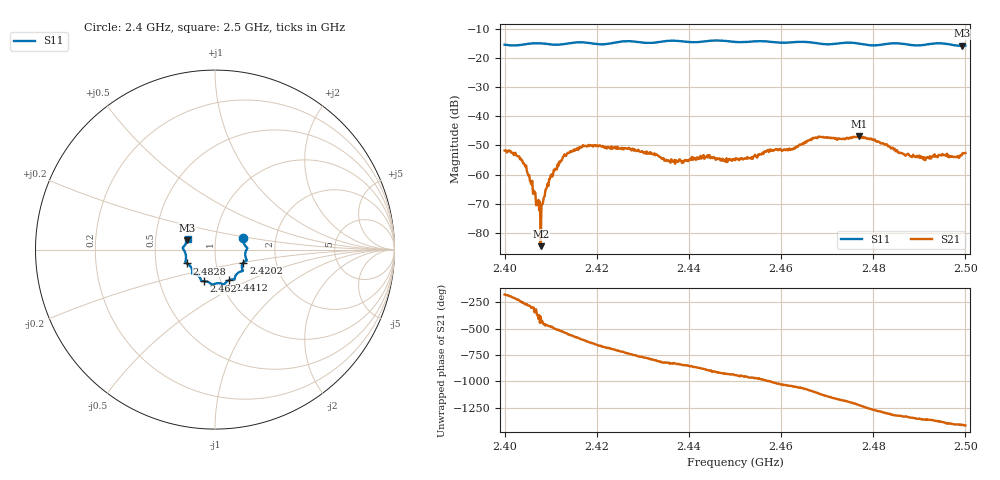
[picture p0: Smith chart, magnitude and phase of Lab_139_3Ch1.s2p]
# Hz S RI R 50
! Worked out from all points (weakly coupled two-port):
!   601 points, 2.4 GHz to 2.5 GHz, reference 50 ohm
!   highest |S21| = -46.93 dB at 2.477 GHz (marker M1); lowest = -84.6 dB at 2.4078 GHz (marker M2)
!   lowest |S11| = -15.8 dB at 2.4993 GHz (marker M3), VSWR 1.39, Z = 36.5 + j3.9 ohm
!   |S11| at or under -10 dB: start of sweep to end of sweep
!   S12 and S22 are empty: the file has one direction only
!   S11 on the Smith chart (normalised r, x): 2.4 GHz: 1.36, +0.17; 2.4202 GHz: 1.36, -0.20; 2.4412 GHz: 1.09, -0.39; 2.462 GHz: 0.84, -0.30; 2.4828 GHz: 0.72, -0.11; 2.5 GHz: 0.73, +0.09
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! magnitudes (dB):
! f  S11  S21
! 2.4 GHz  -15.4  -51.8
! 2.4027 GHz  -15.6  -53.6
! 2.4042 GHz  -15.3  -56.2
! 2.4073 GHz  -14.9  -68.7
! 2.4078 GHz  -14.9  -84.6
! 2.4083 GHz  -15.0  -69.7
! 2.4097 GHz  -15.2  -61.6
! 2.4123 GHz  -15.3  -55.3
! 2.4167 GHz  -14.6  -50.6
! 2.4202 GHz  -15.2  -50.0
! 2.4333 GHz  -14.5  -53.6
! 2.4365 GHz  -14.0  -55.6
! 2.4412 GHz  -14.5  -54.5
! 2.45 GHz  -14.4  -55.1
! 2.462 GHz  -14.6  -51.6
! 2.4667 GHz  -14.6  -47.7
! 2.477 GHz  -15.0  -46.9
! 2.4828 GHz  -15.1  -49.6
! 2.4833 GHz  -15.0  -50.2
! 2.491 GHz  -15.5  -54.0
! 2.4993 GHz  -15.8  -52.8
! 2.5 GHz  -15.7  -52.6
